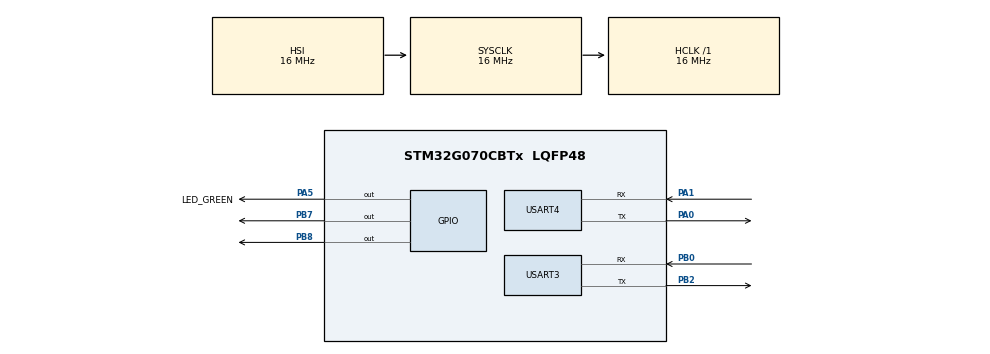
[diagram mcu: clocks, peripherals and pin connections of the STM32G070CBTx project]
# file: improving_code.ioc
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Mcu.Family=STM32G0
Mcu.Name=STM32G070CBTx
Mcu.Package=LQFP48
NVIC.USART3_4_IRQn=true\:0\:0\:false\:false\:true\:true\:true\:true
PA0.Mode=Asynchronous
PA0.Signal=USART4_TX
PA1.Mode=Asynchronous
PA1.Signal=USART4_RX
PA13.Mode=Serial_Wire
PA13.Signal=SYS_SWDIO
PA14-BOOT0.Mode=Serial_Wire
PA14-BOOT0.Signal=SYS_SWCLK
PA5.GPIO_Label=LED_GREEN
PA5.Signal=GPIO_Output
PB0.Mode=Asynchronous
PB0.Signal=USART3_RX
PB2.Mode=Asynchronous
PB2.Signal=USART3_TX
PB7.Signal=GPIO_Output
PB8.Signal=GPIO_Output
PC14-OSC32_IN\ (PC14).Mode=LSE-External-Oscillator
PC14-OSC32_IN\ (PC14).Signal=RCC_OSC32_IN
PC15-OSC32_OUT\ (PC15).Mode=LSE-External-Oscillator
PC15-OSC32_OUT\ (PC15).Signal=RCC_OSC32_OUT
ProjectManager.HeapSize=0x200
ProjectManager.StackSize=0x400
ProjectManager.TargetToolchain=STM32CubeIDE
RCC.AHBFreq_Value=16000000
RCC.CortexFreq_Value=16000000
RCC.EXTERNAL_CLOCK_VALUE=48000
RCC.HCLKFreq_Value=16000000
RCC.HSE_VALUE=8000000
RCC.HSI_VALUE=16000000
RCC.SYSCLKFreq_VALUE=16000000
RCC.VCOOutputFreq_Value=128000000
USART3.VirtualMode-Asynchronous=VM_ASYNC
USART4.VirtualMode-Asynchronous=VM_ASYNC
board=custom

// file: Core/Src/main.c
/* USER CODE BEGIN Header */
/**
  ******************************************************************************
  * @file           : main.c
  * @brief          : Main program body
  ******************************************************************************
  * @attention
  *
  * Copyright (c) 2024 STMicroelectronics.
  * All rights reserved.
  *
  * This software is licensed under terms that can be found in the LICENSE file
  * in the root directory of this software component.
  * If no LICENSE file comes with this software, it is provided AS-IS.
  *
  ******************************************************************************
  */
/* USER CODE END Header */
#include "main.h"

/* USER CODE BEGIN Includes */
#include <config.h>
#include <mqtt.h>
#include <string.h>
#include <stdio.h>
#include <stdbool.h>
/* USER CODE END Includes */

/* USER CODE BEGIN PD */
#define LED_Pin GPIO_PIN_5
#define LED_GPIO_Port GPIOA

/* USER CODE END PD */

UART_HandleTypeDef huart3;
UART_HandleTypeDef huart4;

void SystemClock_Config(void);
static void MX_GPIO_Init(void);
static void MX_USART3_UART_Init(void);
static void MX_USART4_UART_Init(void);

int main(void)
{

  /* MCU Configuration--------------------------------------------------------*/

  /* Reset of all peripherals, Initializes the Flash interface and the Systick. */
  HAL_Init();

  /* Configure the system clock */
  SystemClock_Config();

  /* Initialize all configured peripherals */
  MX_GPIO_Init();
  MX_USART3_UART_Init();
  MX_USART4_UART_Init();
  /* USER CODE BEGIN 2 */
//  uint8_t data[PACKET_DATA_LENGTH] = {
//  	      0x67, 0xA4, 0x0A, 0x00, 0x00, 0x4F, 0x00, 0x00, 0x00, 0x00, 0x00, 0x00, 0x00, 0xC2, 0x08, 0x47,
//  	      0x00, 0x0D, 0x00, 0x07, 0x00, 0x00, 0x00, 0x00, 0x00, 0x00, 0x00, 0x21, 0x42, 0x00, 0x01, 0x05,
//  	      0x00, 0x00, 0x00, 0x00, 0x00, 0x00, 0x00, 0x00, 0x00, 0x00, 0x00, 0x00, 0x00, 0x00, 0x00, 0x00,
//  	      0x00, 0x00, 0x00, 0x00, 0x00, 0x69, 0x12, 0x34, 0x56, 0x78, 0x9A, 0xBC, 0xDE, 0xF0, 0x11, 0x22,
//  	      0x33, 0x44, 0x55, 0x66, 0x77, 0x88
//  };
 uint8_t txData[] = TX_DATA;
 uint8_t data[PACKET_DATA_LENGTH] = {0};
  const static char *ca_cert =
"\
-----BEGIN CERTIFICATE-----\n\
MIIDQTCCAimgAwIBAgITBmyfz5m/jAo54vB4ikPmljZbyjANBgkqhkiG9w0BAQsF\n\
ADA5MQswCQYDVQQGEwJVUzEPMA0GA1UEChMGQW1hem9uMRkwFwYDVQQDExBBbWF6\n\
b24gUm9vdCBDQSAxMB4XDTE1MDUyNjAwMDAwMFoXDTM4MDExNzAwMDAwMFowOTEL\n\
MAkGA1UEBhMCVVMxDzANBgNVBAoTBkFtYXpvbjEZMBcGA1UEAxMQQW1hem9uIFJv\n\
b3QgQ0EgMTCCASIwDQYJKoZIhvcNAQEBBQADggEPADCCAQoCggEBALJ4gHHKeNXj\n\
ca9HgFB0fW7Y14h29Jlo91ghYPl0hAEvrAIthtOgQ3pOsqTQNroBvo3bSMgHFzZM\n\
9O6II8c+6zf1tRn4SWiw3te5djgdYZ6k/oI2peVKVuRF4fn9tBb6dNqcmzU5L/qw\n\
IFAGbHrQgLKm+a/sRxmPUDgH3KKHOVj4utWp+UhnMJbulHheb4mjUcAwhmahRWa6\n\
VOujw5H5SNz/0egwLX0tdHA114gk957EWW67c4cX8jJGKLhD+rcdqsq08p8kDi1L\n\
93FcXmn/6pUCyziKrlA4b9v7LWIbxcceVOF34GfID5yHI9Y/QCB/IIDEgEw+OyQm\n\
jgSubJrIqg0CAwEAAaNCMEAwDwYDVR0TAQH/BAUwAwEB/zAOBgNVHQ8BAf8EBAMC\n\
AYYwHQYDVR0OBBYEFIQYzIU07LwMlJQuCFmcx7IQTgoIMA0GCSqGSIb3DQEBCwUA\n\
A4IBAQCY8jdaQZChGsV2USggNiMOruYou6r4lK5IpDB/G/wkjUu0yKGX9rbxenDI\n\
U5PMCCjjmCXPI6T53iHTfIUJrU6adTrCC2qJeHZERxhlbI1Bjjt/msv0tadQ1wUs\n\
N+gDS63pYaACbvXy8MWy7Vu33PqUXHeeE6V/Uq2V8viTO96LXFvKWlJbYK8U90vv\n\
o/ufQJVtMVT8QtPHRh8jrdkPSHCa2XV4cdFyQzR1bldZwgJcJmApzyMZFo6IQ6XU\n\
5MsI+yMRQ+hDKXJioaldXgjUkK642M4UwtBV8ob2xJNDd2ZhwLnoQdeXeGADbkpy\n\
rqXRfboQnoZsG4q5WTP468SQvvG5\n\
-----END CERTIFICATE-----\n\
";

  const static char *client_cert =
"\
-----BEGIN CERTIFICATE-----\n\
MIIDWjCCAkKgAwIBAgIVALJDqaAR4fcR46oulQrfg++G+uriMA0GCSqGSIb3DQEB\n\
CwUAME0xSzBJBgNVBAsMQkFtYXpvbiBXZWIgU2VydmljZXMgTz1BbWF6b24uY29t\n\
IEluYy4gTD1TZWF0dGxlIFNUPVdhc2hpbmd0b24gQz1VUzAeFw0yNDA4MTcyMDUx\n\
NThaFw00OTEyMzEyMzU5NTlaMB4xHDAaBgNVBAMME0FXUyBJb1QgQ2VydGlmaWNh\n\
dGUwggEiMA0GCSqGSIb3DQEBAQUAA4IBDwAwggEKAoIBAQC5sy4v27FRXGKrVirj\n\
EwHmvslfV1oN6gUrVWEKELgKdlehXHHslcm4fnw9CJQiM7qaLEwXWBhmnWxW1DX/\n\
tn7U+kk3IU/EpA/LqO2gjsh9Twe/KsrR0NC0IW2JUe1/nzN5mTQeDk1VweOT3dDd\n\
1ebIbDCG16riwUAMzV8mYTg8bCf1ie7K2WBS11FN+2gxHKqdP4zKkrq5fhFHA0If\n\
2I8taMc0VnGfAQN/kQCiDGd/pX5QhgnMXn4sqXsl4e3BpJ3Bo7TNR6wll3Kt7M4Y\n\
Zi78Bu9+QfmOEnFPtiL+GtiMUNRJq9lgEZEm5xmobWgoObeepKIM3F/Tano1Uqla\n\
oATNAgMBAAGjYDBeMB8GA1UdIwQYMBaAFHhRLb434MKGY8y5h4/za3gYky3cMB0G\n\
A1UdDgQWBBS61R7qZbCYuslZDcCSR8NLZzBTqDAMBgNVHRMBAf8EAjAAMA4GA1Ud\n\
DwEB/wQEAwIHgDANBgkqhkiG9w0BAQsFAAOCAQEAdXE5/kRpzHeaK9C5wf7voaM0\n\
VQeSGhuoVSLx1QbuKvBNZKm0vCRRI44mJ4nLgbka9utGk65xc/2EGhemoS8TTcQx\n\
7MoZWiFnVLKcpM67wiCIvuBF5EubL4dosbCc0T6vSR3BqbfZub2f/oBp0ui2vixJ\n\
pdILkN9nqGGPltbAkAcrGYrvjlA9ZmUFn7w11Xr3pUIbjTsqSCMFpFUBtyNVJkUJ\n\
qtcrzodK+syIpVzW2C4s78QVmxj8cQ/KOYpX8L4RYiQ2fZbrGp/zXctOZ9JXgE5p\n\
SUXzEBzWqs3j1+58UHhQr54+TGqMte+MoTCaSWbs5aeTT5grTzS3zHLYRNNOHg==\n\
-----END CERTIFICATE-----\n\
";

  const static char *private_key =
"\
-----BEGIN RSA PRIVATE KEY-----\n\
MIIEowIBAAKCAQEAubMuL9uxUVxiq1Yq4xMB5r7JX1daDeoFK1VhChC4CnZXoVxx\n\
7JXJuH58PQiUIjO6mixMF1gYZp1sVtQ1/7Z+1PpJNyFPxKQPy6jtoI7IfU8HvyrK\n\
0dDQtCFtiVHtf58zeZk0Hg5NVcHjk93Q3dXmyGwwhteq4sFADM1fJmE4PGwn9Ynu\n\
ytlgUtdRTftoMRyqnT+MypK6uX4RRwNCH9iPLWjHNFZxnwEDf5EAogxnf6V+UIYJ\n\
zF5+LKl7JeHtwaSdwaO0zUesJZdyrezOGGYu/AbvfkH5jhJxT7Yi/hrYjFDUSavZ\n\
YBGRJucZqG1oKDm3nqSiDNxf02p6NVKpWqAEzQIDAQABAoIBADpG4AzG3kvROWnZ\n\
vdXLRkJ6x0lzaWCKe5rQzYZSHt+xqeiK0XnUvBx5HVYuFgbxwvLVSf/ddrLlXnWV\n\
XWjlhcIi1c1GV/k3H3njhsdnZ8XjgmPc8w+Lf6O4Bd8dZfIyLP5RNQjlpiFumpPx\n\
/bVQhn+JbGU0030b9pTN8rlhsztKkFvjzY8ZZeXXmvJR2XsNocJRf3Ww/RDsXKct\n\
qJGydDHSeT+HP7peG0oASpXEODseWF1EoxhVvtqQ3AwPY+8CVJ+ZbWyGqgXnIPp1\n\
JOQeYT6Oa33gVdEQ9gWvdwvNq/nIhEYUTBGHKRxnsLLW0TgFT0Y8aw56DwEWjDQ3\n\
AmUy/CUCgYEA8fY7mveDz+j86yVAUt9z9LJTSNSKICOXj60LitGCVxAs6LUzi95a\n\
+n6HZc1+E3c78rzL3wxxu9pQ/Tv+9StnUTotv/0D/9IuHaT3BcqrT8H+vPkEGufH\n\
c4tP3TuCn62DVS6DbrepSh/C07x++VplkOEajZo8xVkDqNq8R9j7CtsCgYEAxHlP\n\
h3t4dBSyMo3kH7naPXR8Pn6Srsz/ngyAkBfXzrvAisopUSauAW9TArnI3frplTDo\n\
06Uj/z8X8iVXUHvGCQEeSnmn+kmdGeqTO/WDij0Pk/C/6J1fAVGrFWMkIW090ZLE\n\
g6ECycDEo/2JoqLHrPagLqzWU9OQ4qu3EmcAu3cCgYEAoju9P2ySHsdTPb8eX/Kf\n\
ZwRiP0Ty0BXNO3KFeLB9Oi8ITYehZjjSu342/pVH4Xli4qCf+Y/4ekIpZ4HgszZE\n\
8fuWTVIyakbc0NeZIXMAZlvml4JHtFqQKvLPu8B5FuNaWbT0Pzo58g9VrG6InFx2\n\
GSw1h5hRAulqQL9Y2rurp10CgYBhNQgFJzCkdizoWE2a6NAygbSLEwKt251I7DSb\n\
lkBe94O+52Dj1rhW22Z9vb/FHER/XRCEznrt6aCGXLVDi8miYNxEysYyTkOdM/Me\n\
wk0Pk0Bm2MGKbHo549c6oK+anjrsuqnh2kLP4UEpReLYBaO3TtpX3Ym5Nb7Ed2L/\n\
htjU5wKBgCH1H8RPY2X0N3fCkDRtyinue+qdt4FEtRZQtFgiEOgyYpF+fJ8dembW\n\
9nIrNYixDWgGx/zGUnE4mhqfcDiMg5baaDJyBMtGuU8wK3hMZ7KXLCBBA4szZDgK\n\
4UoUKJkA5Hc717o4fSli89/6b4U0IysMPwOLdOClsd8pjO3mcg25\n\
-----END RSA PRIVATE KEY-----\n\
";
  bool cert1_status = false;
  bool cert2_status = false;
  bool cert3_status = false;
  Quectelon();

  while (!cert1_status){
	  cert1_status =  uploadcertificate1(ca_cert);
  }
  while (!cert2_status){
	  cert2_status =  uploadcertificate2(client_cert);
  }
  while (!cert3_status){
	  cert3_status =  uploadcertificate3(private_key);
  }
  assignPDPcontext();
  initializeMQTT();

  /* USER CODE END 2 */

  /* Infinite loop */
  while (1)
  {

    /* USER CODE BEGIN 3 */
	  bool TransmitDataMqtt_flag = false;
	  HAL_StatusTypeDef Inverter_receive_status=HAL_TIMEOUT;

//	   Try to receive the inverter data
//	   The  TransmitDataMqtt will not be called until data is received
	  while(Inverter_receive_status!=HAL_OK){
		  HAL_UART_Transmit_IT(&huart4, txData, sizeof(txData));
	  	  Inverter_receive_status=HAL_UART_Receive(&huart4, data, PACKET_DATA_LENGTH,2000);
	//  	  HAL_Delay(2000);
	  	  HAL_GPIO_TogglePin(LED_GPIO_Port, LED_Pin);
	  }

	    // Transmit Data via MQTT through Quectel
	  uint8_t debug = 1;

	    TransmitDataMqtt_flag = TransmitDataMqtt(data,PACKET_DATA_LENGTH,&debug);

	//  After the execution of TransmitDataMqtt function the TransmitDataMqtt_flag may either be true or false.
	//  For debugging purposes if the TransmitDataMqtt_flag is true then the LED blinks at a faster rate(Less Delay).
	//  And for unsuccessful transmission the LED blinks slower rate( High Delay).
	//  The LED Blinks until the timer exceeds the MINUTES_INTERVAL duration.

	    uint32_t last_tick = HAL_GetTick(); // Initialize the last tick time
	    while (((HAL_GetTick() - last_tick)) < MINUTES_INTERVAL)
	    {
	      if (TransmitDataMqtt_flag)
	      {
	        // Transmission Successful
	        HAL_GPIO_WritePin(LED_GPIO_Port, LED_Pin, GPIO_PIN_SET);
	        HAL_Delay(500);
	        HAL_GPIO_WritePin(LED_GPIO_Port, LED_Pin, GPIO_PIN_RESET);
	        HAL_Delay(500);
	      }
	      else
	      {
	        // Transmission Failed
	        HAL_GPIO_WritePin(LED_GPIO_Port, LED_Pin, GPIO_PIN_SET);
	        HAL_Delay(1500);
	        HAL_GPIO_WritePin(LED_GPIO_Port, LED_Pin, GPIO_PIN_RESET);
	        HAL_Delay(1500);
	      }
	    }

  }
  /* USER CODE END 3 */
}

void SystemClock_Config(void)
{
  RCC_OscInitTypeDef RCC_OscInitStruct = {0};
  RCC_ClkInitTypeDef RCC_ClkInitStruct = {0};

  /** Configure the main internal regulator output voltage
  */
  HAL_PWREx_ControlVoltageScaling(PWR_REGULATOR_VOLTAGE_SCALE1);

  /** Initializes the RCC Oscillators according to the specified parameters
  * in the RCC_OscInitTypeDef structure.
  */
  RCC_OscInitStruct.OscillatorType = RCC_OSCILLATORTYPE_HSI;
  RCC_OscInitStruct.HSIState = RCC_HSI_ON;
  RCC_OscInitStruct.HSIDiv = RCC_HSI_DIV1;
  RCC_OscInitStruct.HSICalibrationValue = RCC_HSICALIBRATION_DEFAULT;
  RCC_OscInitStruct.PLL.PLLState = RCC_PLL_NONE;
  if (HAL_RCC_OscConfig(&RCC_OscInitStruct) != HAL_OK)
  {
    Error_Handler();
  }

  /** Initializes the CPU, AHB and APB buses clocks
  */
  RCC_ClkInitStruct.ClockType = RCC_CLOCKTYPE_HCLK|RCC_CLOCKTYPE_SYSCLK
                              |RCC_CLOCKTYPE_PCLK1;
  RCC_ClkInitStruct.SYSCLKSource = RCC_SYSCLKSOURCE_HSI;
  RCC_ClkInitStruct.AHBCLKDivider = RCC_SYSCLK_DIV1;
  RCC_ClkInitStruct.APB1CLKDivider = RCC_HCLK_DIV1;

  if (HAL_RCC_ClockConfig(&RCC_ClkInitStruct, FLASH_LATENCY_0) != HAL_OK)
  {
    Error_Handler();
  }
}

static void MX_USART3_UART_Init(void)
{

  huart3.Instance = USART3;
  huart3.Init.BaudRate = 115200;
  huart3.Init.WordLength = UART_WORDLENGTH_8B;
  huart3.Init.StopBits = UART_STOPBITS_1;
  huart3.Init.Parity = UART_PARITY_NONE;
  huart3.Init.Mode = UART_MODE_TX_RX;
  huart3.Init.HwFlowCtl = UART_HWCONTROL_NONE;
  huart3.Init.OverSampling = UART_OVERSAMPLING_16;
  huart3.Init.OneBitSampling = UART_ONE_BIT_SAMPLE_DISABLE;
  huart3.Init.ClockPrescaler = UART_PRESCALER_DIV1;
  huart3.AdvancedInit.AdvFeatureInit = UART_ADVFEATURE_NO_INIT;
  if (HAL_UART_Init(&huart3) != HAL_OK)
  {
    Error_Handler();
  }

}

static void MX_USART4_UART_Init(void)
{

  huart4.Instance = USART4;
  huart4.Init.BaudRate = 115200;
  huart4.Init.WordLength = UART_WORDLENGTH_8B;
  huart4.Init.StopBits = UART_STOPBITS_1;
  huart4.Init.Parity = UART_PARITY_NONE;
  huart4.Init.Mode = UART_MODE_TX_RX;
  huart4.Init.HwFlowCtl = UART_HWCONTROL_NONE;
  huart4.Init.OverSampling = UART_OVERSAMPLING_16;
  huart4.Init.OneBitSampling = UART_ONE_BIT_SAMPLE_DISABLE;
  huart4.Init.ClockPrescaler = UART_PRESCALER_DIV1;
  huart4.AdvancedInit.AdvFeatureInit = UART_ADVFEATURE_NO_INIT;
  if (HAL_UART_Init(&huart4) != HAL_OK)
  {
    Error_Handler();
  }

}

static void MX_GPIO_Init(void)
{
  GPIO_InitTypeDef GPIO_InitStruct = {0};

  /* GPIO Ports Clock Enable */
  __HAL_RCC_GPIOC_CLK_ENABLE();
  __HAL_RCC_GPIOF_CLK_ENABLE();
  __HAL_RCC_GPIOA_CLK_ENABLE();
  __HAL_RCC_GPIOB_CLK_ENABLE();

  /*Configure GPIO pin Output Level */
  HAL_GPIO_WritePin(LED_GREEN_GPIO_Port, LED_GREEN_Pin, GPIO_PIN_RESET);

  /*Configure GPIO pin Output Level */
  HAL_GPIO_WritePin(GPIOB, GPIO_PIN_7|GPIO_PIN_8, GPIO_PIN_RESET);

  /*Configure GPIO pin : LED_GREEN_Pin */
  GPIO_InitStruct.Pin = LED_GREEN_Pin;
  GPIO_InitStruct.Mode = GPIO_MODE_OUTPUT_PP;
  GPIO_InitStruct.Pull = GPIO_NOPULL;
  GPIO_InitStruct.Speed = GPIO_SPEED_FREQ_HIGH;
  HAL_GPIO_Init(LED_GREEN_GPIO_Port, &GPIO_InitStruct);

  /*Configure GPIO pins : PB7 PB8 */
  GPIO_InitStruct.Pin = GPIO_PIN_7|GPIO_PIN_8;
  GPIO_InitStruct.Mode = GPIO_MODE_OUTPUT_PP;
  GPIO_InitStruct.Pull = GPIO_NOPULL;
  GPIO_InitStruct.Speed = GPIO_SPEED_FREQ_LOW;
  HAL_GPIO_Init(GPIOB, &GPIO_InitStruct);

}

void Error_Handler(void)
{
  __disable_irq();
  while (1)
  {
  }
}
